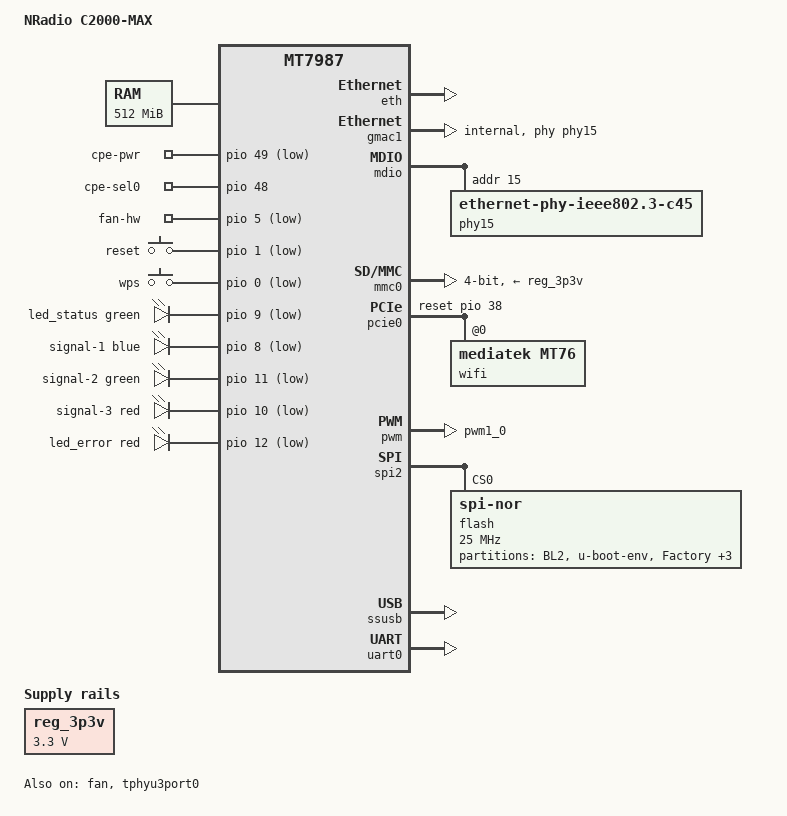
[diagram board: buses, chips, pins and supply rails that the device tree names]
// SPDX-License-Identifier: GPL-2.0-or-later OR MIT

/dts-v1/;

#include "mt7987b.dtsi"

#include <dt-bindings/input/input.h>
#include <dt-bindings/leds/common.h>

/ {
	model = "NRadio C2000-MAX";
	compatible = "nradio,c2000-max",
		     "mediatek,mt7987b",
		     "mediatek,mt7987";

	aliases {
		label-mac-device = &gmac1;
		led-boot = &led_status;
		led-failsafe = &led_error;
		led-running = &led_status;
		led-upgrade = &led_status;
		serial0 = &uart0;
	};

	chosen {
		bootargs = "console=ttyS0,115200n1 root=PARTLABEL=rootfs rootwait";
		stdout-path = "serial0:115200n8";
	};

	/delete-node/ memory;
	memory@40000000 {
		device_type = "memory";
		reg = <0 0x40000000 0 0x20000000>;
	};

	gpio-export {
		compatible = "gpio-export";
		#size-cells = <0>;

		cpe-pwr {
			gpio-export,name = "cpe-pwr";
			gpio-export,output = <0>;
			gpios = <&pio 49 GPIO_ACTIVE_LOW>;
		};

		cpe-sel0 {
			gpio-export,name = "cpe-sel0";
			gpio-export,output = <1>;
			gpios = <&pio 48 GPIO_ACTIVE_HIGH>;
		};

		fan-hw {
			gpio-export,name = "fan-hw";
			gpio-export,output = <0>;
			gpios = <&pio 5 GPIO_ACTIVE_LOW>;
		};
	};

	gpio-keys {
		compatible = "gpio-keys";

		reset {
			label = "reset";
			linux,code = <KEY_RESTART>;
			gpios = <&pio 1 GPIO_ACTIVE_LOW>;
			debounce-interval = <10>;
		};

		wps {
			label = "wps";
			linux,code = <KEY_WPS_BUTTON>;
			gpios = <&pio 0 GPIO_ACTIVE_LOW>;
			debounce-interval = <10>;
		};
	};

	gpio-leds {
		compatible = "gpio-leds";

		led_status: status {
			color = <LED_COLOR_ID_GREEN>;
			function = LED_FUNCTION_STATUS;
			gpios = <&pio 9 GPIO_ACTIVE_LOW>;
		};

		signal-1 {
			color = <LED_COLOR_ID_BLUE>;
			function = LED_FUNCTION_INDICATOR;
			function-enumerator = <0>;
			gpios = <&pio 8 GPIO_ACTIVE_LOW>;
		};

		signal-2 {
			color = <LED_COLOR_ID_GREEN>;
			function = LED_FUNCTION_INDICATOR;
			function-enumerator = <1>;
			gpios = <&pio 11 GPIO_ACTIVE_LOW>;
		};

		signal-3 {
			color = <LED_COLOR_ID_RED>;
			function = LED_FUNCTION_INDICATOR;
			function-enumerator = <2>;
			gpios = <&pio 10 GPIO_ACTIVE_LOW>;
		};

		led_error: error {
			color = <LED_COLOR_ID_RED>;
			function = LED_FUNCTION_FAULT;
			gpios = <&pio 12 GPIO_ACTIVE_LOW>;
		};
	};

	reg_3p3v: regulator-3p3v {
		compatible = "regulator-fixed";
		regulator-name = "fixed-3.3V";
		regulator-min-microvolt = <3300000>;
		regulator-max-microvolt = <3300000>;
		regulator-boot-on;
		regulator-always-on;
	};
};

&eth {
	status = "okay";
};

&fan {
	pwms = <&pwm 1 50000>;
	status = "okay";
};

&gmac1 {
	openwrt,netdev-name = "lan";
	nvmem-cells = <&macaddr_bdinfo_9 0>;
	nvmem-cell-names = "mac-address";
	phy-mode = "internal";
	phy-handle = <&phy15>;
	status = "okay";
};

&mdio {
	phy15: ethernet-phy@f {
		compatible = "ethernet-phy-ieee802.3-c45";
		reg = <15>;
		phy-mode = "internal";
		pinctrl-names = "i2p5gbe-led";
		pinctrl-0 = <&i2p5gbe_led0_pins>;
	};
};

&mmc0 {
	pinctrl-names = "default", "state_uhs";
	pinctrl-0 = <&sd_pins_default>;
	pinctrl-1 = <&sd_pins_uhs>;
	bus-width = <4>;
	max-frequency = <48000000>;
	cap-sd-highspeed;
	vmmc-supply = <&reg_3p3v>;
	vqmmc-supply = <&reg_3p3v>;
	no-mmc;
	no-sdio;
	status = "okay";
};

&pcie0 {
	pinctrl-names = "default";
	pinctrl-0 = <&pcie0_pins>;
	reset-gpios = <&pio 38 GPIO_ACTIVE_HIGH>;
	status = "okay";

	pcie@0,0 {
		reg = <0x0000 0 0 0 0>;
		#address-cells = <3>;
		#size-cells = <2>;

		wifi@0,0 {
			compatible = "mediatek,mt76";
			reg = <0x0000 0 0 0 0>;
			#address-cells = <1>;
			#size-cells = <0>;

			nvmem-cells = <&eeprom_factory_0>;
			nvmem-cell-names = "eeprom";

			ieee80211-freq-limit = <2400000 2500000>,
					       <5170000 5835000>;

			band@0 {
				reg = <0>;
				nvmem-cells = <&macaddr_bdinfo_9 0>;
				nvmem-cell-names = "mac-address";
			};

			band@1 {
				reg = <1>;
				nvmem-cells = <&macaddr_bdinfo_9 1>;
				nvmem-cell-names = "mac-address";
			};
		};
	};
};

&pio {
	pwm1_pins: pwm1-pins {
		mux {
			function = "pwm";
			groups = "pwm1_0";
		};
	};
};

&pwm {
	pinctrl-names = "default";
	pinctrl-0 = <&pwm1_pins>;
	status = "okay";
};

&spi2 {
	pinctrl-names = "default";
	pinctrl-0 = <&spi2_flash_pins>;
	status = "okay";

	flash@0 {
		compatible = "jedec,spi-nor";
		reg = <0>;
		spi-max-frequency = <25000000>;

		partitions {
			compatible = "fixed-partitions";
			#address-cells = <1>;
			#size-cells = <1>;

			partition@0 {
				label = "BL2";
				reg = <0x000000 0x040000>;
				read-only;
			};

			partition@40000 {
				label = "u-boot-env";
				reg = <0x040000 0x010000>;
			};

			partition@50000 {
				label = "Factory";
				reg = <0x050000 0x100000>;
				read-only;

				nvmem-layout {
					compatible = "fixed-layout";
					#address-cells = <1>;
					#size-cells = <1>;

					eeprom_factory_0: eeprom@0 {
						reg = <0x0 0x1e00>;
					};
				};
			};

			partition@150000 {
				label = "bdinfo";
				reg = <0x150000 0x080000>;
				read-only;

				nvmem-layout {
					compatible = "fixed-layout";
					#address-cells = <1>;
					#size-cells = <1>;

					macaddr_bdinfo_9: macaddr@9 {
						compatible = "mac-base";
						reg = <0x9 0x6>;
						#nvmem-cell-cells = <1>;
					};
				};
			};

			partition@1d0000 {
				label = "FIP";
				reg = <0x1d0000 0x100000>;
				read-only;
			};

			partition@2d0000 {
				label = "firmware";
				reg = <0x2d0000 0x1d30000>;
				read-only;
			};
		};
	};
};

&ssusb {
	status = "okay";

	vusb33-supply = <&reg_3p3v>;
};

&tphyu3port0 {
	status = "okay";
};

&uart0 {
	pinctrl-names = "default";
	pinctrl-0 = <&uart0_pins>;
	status = "okay";
};
